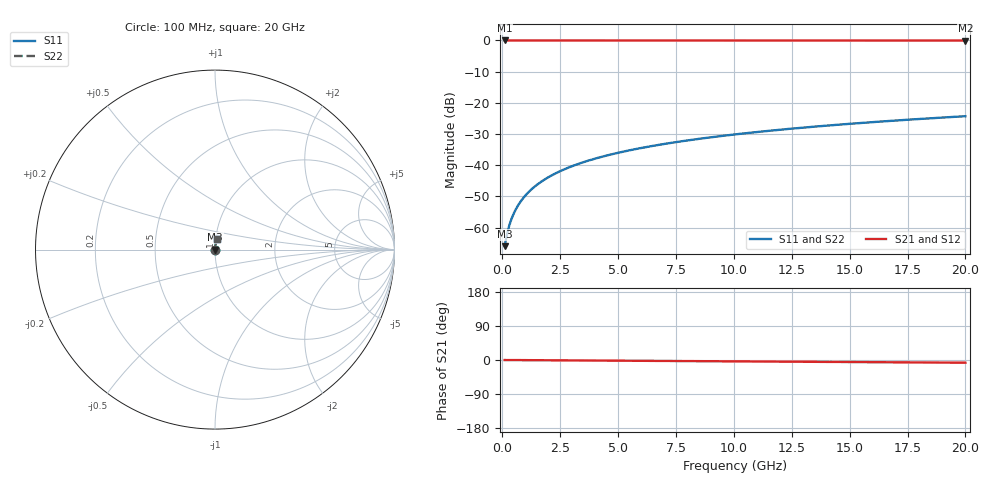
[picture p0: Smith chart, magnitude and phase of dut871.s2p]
! Touchstone file exported from HFSS 2026.1.0
!  File:  C:/ffzhzh/LocalFiles/Ansys_Project_Files/temp_train_TSV_871_1783185538_22436.aedt
!  Generated:  01:20:38 AM Jul  5, 2026
!  Design:  TSV
!  Project:  temp_train_TSV_871_1783185538_22436
! Variables:
!  h_bsmrdl = 2um
!  h_ox = 20um
!  h_rdl = 5um
!  h_sub = 58.46um
!  h_tmrdl = 5um
!  h_tsv = 58.46um
!  h_via = 3um
!  l_bsmrdl = 300um
!  l_sub = 408.86um
!  l_tmrdl = 200um
!  m_sub = 200um
!  pitch = 39.05um
!  r_tsv = 4.43um
!  s_tmrdl = 10um
!  w_bsmrdl = 18um
!  w_sub = 500um
!  w_tmrdl = 12um
!  x_tsv_center1 = 206um
!  x_tsv_center2 = 524um
!  x_tsv_center3 = 736um
!  x_tsv_center4 = 1054um
!  x_tsv_center5 = 1266um
!  x_tsv_center6 = 1584um
# GHz S MA R 50.000000
! Terminal data exported
! Port[1] = TSV1_1_T1
! Port[2] = TSV1_1_T2
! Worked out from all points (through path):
!   200 points, 100 MHz to 20 GHz, reference 50 ohm
!   highest |S21| = 0.00 dB at 100 MHz (marker M1); lowest = 0.0 dB at 20 GHz (marker M2)
!   lowest |S11| = -65.9 dB at 100 MHz (marker M3), VSWR 1.00, Z = 50 + j0.034 ohm
!   |S11| at or under -10 dB: start of sweep to end of sweep
!   |S22| runs from -65.9 to -24.3 dB; largest |S21 - S12| = 5.6e-15
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0.1  0.0005058 42.1  0.9996 -0.0  0.9996 -0.0  0.0005058 42.1
! Gamma 0 0 0 0
! Port Impedance 50 0 50 0
0.2  0.000777 60.2  0.9996 -0.1  0.9996 -0.1  0.000777 60.2
0.3  0.00108 68.3  0.9996 -0.1  0.9996 -0.1  0.00108 68.3
0.4  0.001392 72.7  0.9996 -0.1  0.9996 -0.1  0.001392 72.7
0.5  0.001706 75.5  0.9996 -0.2  0.9996 -0.2  0.001706 75.5
0.6  0.002021 77.5  0.9996 -0.2  0.9996 -0.2  0.002021 77.5
0.8  0.002653 80.0  0.9995 -0.3  0.9995 -0.3  0.002653 80.0
1.1  0.003606 82.1  0.9995 -0.4  0.9995 -0.4  0.003606 82.1
1.5  0.004879 83.6  0.9995 -0.6  0.9995 -0.6  0.004879 83.6
1.8  0.005834 84.2  0.9995 -0.7  0.9995 -0.7  0.005834 84.2
2.1  0.006787 84.6  0.9994 -0.8  0.9994 -0.8  0.006787 84.6
2.7  0.008685 85.0  0.9993 -1.0  0.9993 -1.0  0.008685 85.0
3.5  0.0112 85.1  0.9992 -1.3  0.9992 -1.3  0.0112 85.1
4.2  0.01338 85.1  0.9991 -1.5  0.9991 -1.5  0.01338 85.1
5  0.01585 85.0  0.999 -1.8  0.999 -1.8  0.01585 85.0
5.9  0.01862 84.9  0.9989 -2.1  0.9989 -2.1  0.01862 84.9
6.8  0.02137 84.7  0.9987 -2.5  0.9987 -2.5  0.02137 84.7
8.3  0.02593 84.4  0.9985 -3.0  0.9985 -3.0  0.02593 84.4
10.1  0.03138 84.0  0.9982 -3.6  0.9982 -3.6  0.03138 84.0
13.4  0.04135 83.1  0.9977 -4.8  0.9977 -4.8  0.04135 83.1
16.7  0.05126 82.2  0.997 -6.0  0.997 -6.0  0.05126 82.2
20  0.06112 81.2  0.9963 -7.1  0.9963 -7.1  0.06112 81.2
